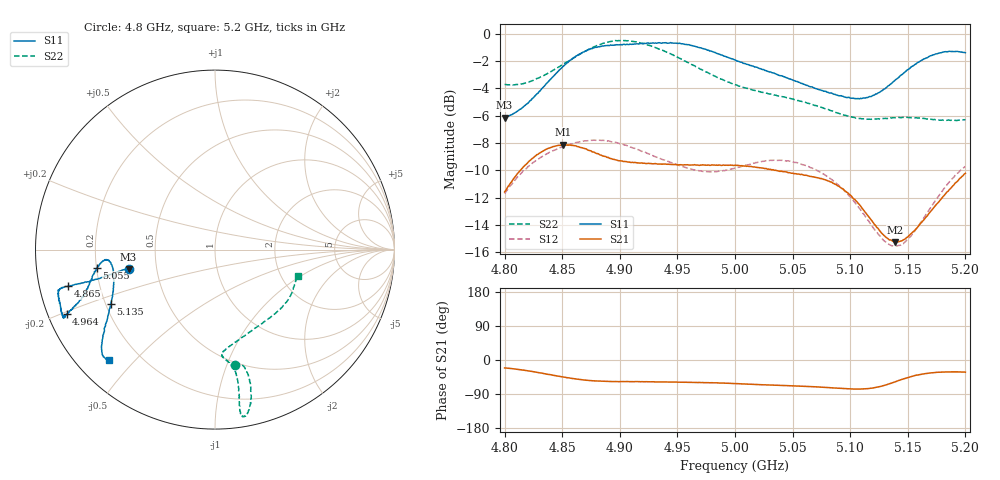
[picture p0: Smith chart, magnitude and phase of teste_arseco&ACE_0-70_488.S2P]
! Network Analyzer HP8722D
! Hewlett-Packard
! Data name: Linha & Wilkinson
! Saver's name: Rodrigo Anjos
! Comments: Teste da utilização de aquisição
! continua pelo VNA HP8722D
! Time and date: 8/5/2025 16:49
!  Frequency  S11  S21  S12  S22
# HZ  S  MA R 50
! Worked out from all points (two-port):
!   401 points, 4.8 GHz to 5.2 GHz, reference 50 ohm
!   highest |S21| = -8.11 dB at 4.851 GHz (marker M1); lowest = -15.2 dB at 5.139 GHz (marker M2)
!   |S21| within 3 dB of the highest: 4.804 GHz to 5.089 GHz (285.1 MHz wide, 5.76 % of centre); 5.189466 GHz to end of sweep
!   lowest |S11| = -6.1 dB at 4.8 GHz (marker M3), VSWR 2.95, Z = 17.1 - j4.92 ohm
!   |S11| at or under -10 dB: nowhere
!   |S22| runs from -6.4 to -0.5 dB; largest |S21 - S12| = 0.62
!   S11 on the Smith chart (normalised r, x): 4.8 GHz: 0.34, -0.10; 4.865 GHz: 0.09, -0.12; 4.964 GHz: 0.05, -0.21; 5.055 GHz: 0.20, -0.07; 5.135 GHz: 0.22, -0.23; 5.2 GHz: 0.09, -0.42
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4.8e9  0.4936 -167.3  0.2636 -20.9  0.2601 -142.0  0.6526 -80.1
4.826e9  0.59 -166.7  0.355 -31.3  0.3404 -146.2  0.6792 -75.9
4.851e9  0.7605 -165.9  0.3931 -44.9  0.3867 -150.7  0.7754 -75.2
4.865e9  0.8432 -166.0  0.3843 -51.3  0.4018 -152.9  0.8401 -76.1
4.867e9  0.8503 -166.0  0.3829 -52.1  0.4032 -153.1  0.8508 -76.3
4.88e9  0.8916 -165.8  0.3643 -55.5  0.4081 -155.1  0.9047 -77.7
4.898e9  0.9113 -163.2  0.3438 -57.0  0.3981 -157.1  0.9423 -79.8
4.934e9  0.9271 -156.7  0.3334 -57.9  0.3515 -156.1  0.879 -81.1
4.964e9  0.9018 -156.4  0.3309 -59.2  0.318 -149.2  0.7666 -80.2
5e9  0.8018 -159.5  0.3301 -62.3  0.3224 -137.7  0.6509 -81.8
5.032e9  0.7208 -165.2  0.3174 -66.3  0.3438 -135.1  0.5999 -85.8
5.055e9  0.6653 -171.2  0.3066 -68.7  0.336 -136.7  0.5695 -85.2
5.067e9  0.6386 -173.5  0.2996 -70.1  0.3224 -137.8  0.5508 -82.7
5.086e9  0.6003 -174.6  0.2828 -73.9  0.2878 -139.6  0.5191 -74.8
5.101e9  0.5812 -171.5  0.2549 -76.5  0.2499 -139.4  0.4962 -65.7
5.115e9  0.584 -164.8  0.2167 -75.6  0.2088 -135.5  0.4868 -55.6
5.134e9  0.6482 -153.1  0.176 -62.8  0.1691 -118.4  0.4915 -42.7
5.135e9  0.6543 -152.4  0.176 -61.8  0.1684 -117.0  0.4924 -42.1
5.139e9  0.6763 -150.6  0.173 -57.5  0.167 -111.8  0.493 -39.9
5.151e9  0.7423 -145.2  0.1824 -45.2  0.1793 -96.7  0.4931 -33.6
5.17e9  0.8305 -139.5  0.2242 -34.0  0.2318 -82.1  0.4865 -25.2
5.2e9  0.852 -133.9  0.3083 -32.2  0.3269 -77.8  0.4841 -17.7
